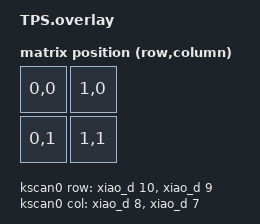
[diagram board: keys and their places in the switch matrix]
/*
 * Copyright (c) 2020 The ZMK Contributors
 *
 * SPDX-License-Identifier: MIT
 */
#include <dt-bindings/zmk/matrix_transform.h>
#include <dt-bindings/zmk/input_transform.h>
#include <input/processors.dtsi>
#include <dt-bindings/zmk/pointing.h>

// #include <zephyr/dt-bindings/input/input-event-codes.h>
// #include <dt-bindings/zmk/outputs.h>
// // #include <dt-bindings/zmk/mouse.h>
// #include <dt-bindings/zmk/input_transform.h>
// #include <input/processors/report_rate_limit.dtsi>

/ {
	chosen {
		zmk,kscan = &kscan0;
		zmk,matrix_transform = &default_transform;
	};
	default_transform: keymap_transform_0 {
		compatible = "zmk,matrix-transform";
		columns = <2>;
		rows = <2>;
		map = <
        RC(0,0) RC(1,0) 
        RC(0,1) RC(1,1)
        >;
	};

};

/{
	kscan0: kscan {
		compatible = "zmk,kscan-gpio-matrix";
		label = "KSCAN";
		diode-direction = "col2row";
		row-gpios
			= <&xiao_d 10 (GPIO_ACTIVE_HIGH | GPIO_PULL_DOWN)>
            , <&xiao_d 9 (GPIO_ACTIVE_HIGH | GPIO_PULL_DOWN)>
			;
        col-gpios
            = <&xiao_d 8 GPIO_ACTIVE_HIGH>
            , <&xiao_d 7 GPIO_ACTIVE_HIGH>
            ;
	};
    tps43_input: tps43_input {
        compatible = "zmk,input-listener";
        device = <&tps43>;
    };
};

&xiao_i2c {
    status = "okay";
    tps43: iqs5xx@74 {
        status = "okay";
        compatible = "azoteq,iqs5xx";
        reg = <0x74>;

        reset-gpios = <&xiao_d 1 GPIO_ACTIVE_LOW>;
        rdy-gpios = <&xiao_d 0 GPIO_ACTIVE_HIGH>;

        /*
         * Potentially non-exhaustive list of configuration options.
         * See: dts/bindings/input/azoteq,iqs5xx-common.yaml for a full list.
         */
        one-finger-tap;
        press-and-hold;
        press-and-hold-time = <250>;
        two-finger-tap;

        scroll;
        natural-scroll-y;
        natural-scroll-x;
        flip-x;

        bottom-beta = <5>;
        stationary-threshold = <5>;

        // switch-xy;
    };
};

/*
west build -d build/TPS -p -b seeeduino_xiao_ble -- -DSHIELD=TPS -DZMK_EXTRA_MODULES="/workspaces/zmk/app/zmk-driver-azoteq-iqs5xx-main"
west build -d build/TPS -p -b seeeduino_xiao_ble -- -DSHIELD=TPS -DZMK_EXTRA_MODULES="/workspaces/zmk/app/zmk-driver-azoteq-iqs5xx-main;/workspaces/zmk/app/zmk-input-processor-report-rate-limit"

docker cp wizardly_wiles:/workspaces/zmk/app/build/TPS/zephyr/zmk.uf2 '/Users/song100/Library/Mobile Documents/com~apple~CloudDocs/Keyboard/36firmware/TPS.uf2'
*/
